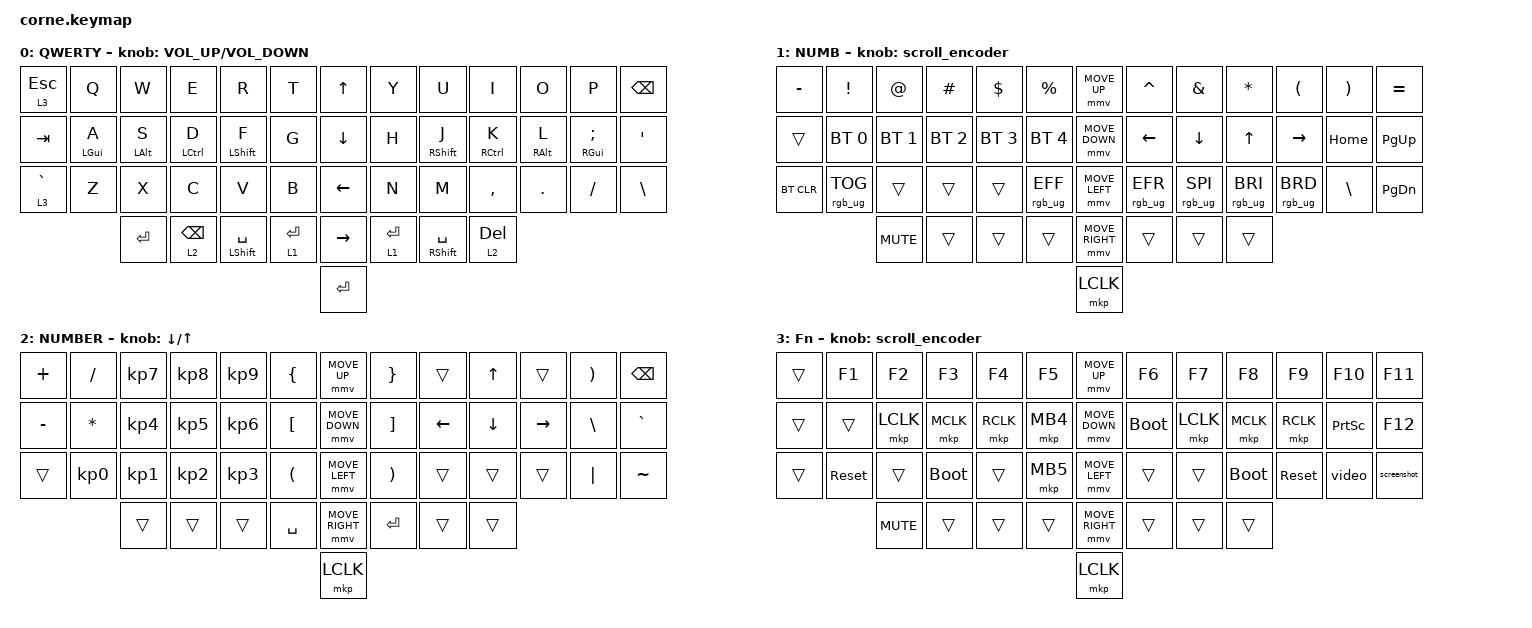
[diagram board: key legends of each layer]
#include <behaviors/mouse_keys.dtsi>
#include <behaviors.dtsi>
#include <dt-bindings/zmk/bt.h>
#include <dt-bindings/zmk/keys.h>
#include <dt-bindings/zmk/mouse.h>
#include <dt-bindings/zmk/rgb.h>

#define ZMK_MOUSE_DEFAULT_MOVE_VAL 1200  // 600
#define ZMK_MOUSE_DEFAULT_SCRL_VAL 20    // 10
#define U_MS_U &mmv MOVE_UP
#define U_MS_D &mmv MOVE_DOWN
#define U_MS_L &mmv MOVE_LEFT
#define U_MS_R &mmv MOVE_RIGHT

&lt { quick-tap-ms = <200>; };

/ {
    behaviors {
        td0: td0 {
            compatible = "zmk,behavior-tap-dance";
            label = "TD0";
            #binding-cells = <0>;
            bindings = <&kp LEFT_SHIFT>, <&kp CAPS>;
        };

        hm: homerow_mods {
            compatible = "zmk,behavior-hold-tap";
            label = "homerow_mods";
            bindings = <&kp>, <&kp>;

            #binding-cells = <2>;
            tapping-term-ms = <200>;
            quick-tap-ms = <200>;
            flavor = "balanced";
        };

        mmv {
            acceleration-exponent = <1>;      // 1
            time-to-max-speed-ms = <900>;    // 40
            delay-ms = <0>;                   // 0
        };

        msc {
            acceleration-exponent = <1>;      // 0
            time-to-max-speed-ms = <400>;      // 500
            delay-ms = <0>;                   // 10
        };
    };

    rgb_encoder: rgb_encoder {
        compatible = "zmk,behavior-sensor-rotate";
        label = "RGB_ENCODER";
        #sensor-binding-cells = <0>;
        bindings = <&rgb_ug RGB_BRI>, <&rgb_ug RGB_BRD>;
    };

    scroll_encoder: scroll_encoder {
        compatible = "zmk,behavior-sensor-rotate";
        #sensor-binding-cells = <0>;
        bindings = <&msc SCRL_DOWN>, <&msc SCRL_UP>;

        tap-ms = <30>;
    };

    combos {
        compatible = "zmk,combos";

        escape {
            bindings = <&kp ESCAPE>;
            key-positions = <1 2>;
        };

        semi {
            bindings = <&kp SEMI>;
            key-positions = <36 37>;
        };

        hyper {
            bindings = <&kp RS(RA(RC(RIGHT_GUI)))>;
            key-positions = <44 45 46>;
        };
    };

    macros {
        screenshot: screenshot {
            compatible = "zmk,behavior-macro";
            #binding-cells = <0>;
            bindings =
                <&macro_press>,
                <&kp LGUI &kp LCTRL &kp LEFT_SHIFT>,
                <&macro_tap>,
                <&kp NUMBER_4>,
                <&macro_release>,
                <&kp LGUI &kp LCTRL &kp LEFT_SHIFT>;

            label = "SCREENSHOT";
        };

        video: video {
            compatible = "zmk,behavior-macro";
            #binding-cells = <0>;
            bindings =
                <&macro_press>,
                <&kp LGUI &kp LEFT_SHIFT>,
                <&macro_tap>,
                <&kp NUMBER_5>,
                <&macro_release>,
                <&kp LGUI &kp LEFT_SHIFT>;

            label = "VIDEO";
        };
    };

    keymap {
        compatible = "zmk,keymap";

        default_layer {
            display-name = "QWERTY";

            // --------------------------------------------------------------------------------
            // |  TAB |  Q  |  W  |  E  |  R  |  T  |                ↑    |  Y  |  U   |  I  |  O  |  P  | BKSP |      &kp UP_ARROW 
            // | SHIFT |  A  |  S  |  D  |  F  |  G  |               ↓    |  H  |  J   |  K  |  L  |  ;  |  '   | 
            // | CTRL |  Z  |  X  |  C  |  V  |  B  |                ←    |  N  |  M   |  ,  |  .  |  /  | ESC  |
            //                    | GUI | LWR | SPC |                →    | ENT | RSE  | ALT |
            //                                                      enter

            bindings = <
&lt 3 ESC    &kp Q           &kp W           &kp E            &kp R            &kp T           &kp UP_ARROW     &kp Y        &kp U            &kp I         &kp O       &kp P          &kp BSPC
&kp TAB      &hm LEFT_GUI A  &hm LEFT_ALT S  &hm LCTRL D      &hm LSHFT F      &kp G           &kp DOWN_ARROW   &kp H        &hm RSHFT J      &hm RCTRL K   &hm RALT L  &hm RGUI SEMI  &kp SQT
&lt 3 GRAVE  &kp Z           &kp X           &kp C            &kp V            &kp B           &kp LEFT_ARROW   &kp N        &kp M            &kp COMMA     &kp DOT     &kp FSLH       &kp BACKSLASH
                             &kp RETURN      &lt 2 BACKSPACE  &mt LSHFT SPACE  &lt 1 RETURN    &kp RIGHT_ARROW  &lt 1 ENTER  &mt RSHFT SPACE  &lt 2 DELETE
                                                                                               &kp ENTER
            >;

            label = "QWERTY";
            sensor-bindings = <&inc_dec_kp C_VOLUME_UP C_VOLUME_DOWN>;
        };

        lower_layer {
            display-name = "NUMB";

            // -----------------------------------------------------------------------------------------
            // |  TAB |  1  |  2  |  3  |  4  |  5  |   |  6  |  7  |  8  |  9  |  0  | BKSP |
            // | BTCLR| BT1 | BT2 | BT3 | BT4 | BT5 |   | LFT | DWN |  UP | RGT |     |      |
            // | SHFT |     |     |     |     |     |   |     |     |     |     |     |      |
            //                    | GUI |     | SPC |   | ENT |     | ALT |

            bindings = <
&kp MINUS   &kp EXCL         &kp AT        &kp HASH      &kp DOLLAR    &kp PERCENT        &mmv MOVE_UP     &kp CARET        &kp AMPERSAND    &kp ASTERISK     &kp LEFT_PARENTHESIS  &kp RIGHT_PARENTHESIS  &kp EQUAL
&trans      &bt BT_SEL 0     &bt BT_SEL 1  &bt BT_SEL 2  &bt BT_SEL 3  &bt BT_SEL 4       &mmv MOVE_DOWN   &kp LEFT         &kp DOWN         &kp UP           &kp RIGHT             &kp HOME               &kp PG_UP
&bt BT_CLR  &rgb_ug RGB_TOG  &trans        &trans        &trans        &rgb_ug RGB_EFF    &mmv MOVE_LEFT   &rgb_ug RGB_EFR  &rgb_ug RGB_SPI  &rgb_ug RGB_BRI  &rgb_ug RGB_BRD       &kp BACKSLASH          &kp PG_DN
                             &kp C_MUTE    &trans        &trans        &trans             &mmv MOVE_RIGHT  &trans           &trans           &trans
                                                                                          &mkp LCLK
            >;

            label = "SYMBOL";
            sensor-bindings = <&scroll_encoder>;
        };

        raise_layer {
            display-name = "NUMBER";

            // -----------------------------------------------------------------------------------------
            // |  TAB |  !  |  @  |  #  |  $  |  %  |   |  ^  |  &  |  *  |  (  |  )  | BKSP |
            // | CTRL |     |     |     |     |     |   |  -  |  =  |  [  |  ]  |  \  |  `   |
            // | SHFT |     |     |     |     |     |   |  _  |  +  |  {  |  }  | "|" |  ~   |
            //                    | GUI |     | SPC |   | ENT |     | ALT |

            bindings = <
&kp PLUS   &kp SLASH     &kp KP_N7  &kp KP_N8  &kp KP_NUMBER_9  &kp LEFT_BRACE      &mmv MOVE_UP     &kp RBRC           &trans          &kp UP_ARROW    &trans           &kp RPAR  &kp BSPC
&kp MINUS  &kp ASTERISK  &kp KP_N4  &kp KP_N5  &kp KP_N6        &kp LEFT_BRACKET    &mmv MOVE_DOWN   &kp RIGHT_BRACKET  &kp LEFT_ARROW  &kp DOWN_ARROW  &kp RIGHT_ARROW  &kp BSLH  &kp GRAVE
&trans     &kp KP_N0     &kp KP_N1  &kp KP_N2  &kp KP_N3        &kp LPAR            &mmv MOVE_LEFT   &kp RPAR           &trans          &trans          &trans           &kp PIPE  &kp TILDE
                         &trans     &trans     &trans           &kp SPACE           &mmv MOVE_RIGHT  &kp RET            &trans          &trans
                                                                                    &mkp LCLK
            >;

            label = "NUMBER";
            sensor-bindings = <&inc_dec_kp DOWN UP_ARROW>;
        };

        layer_3 {
            display-name = "Fn";
            bindings = <
&trans  &kp F1      &kp F2      &kp F3       &kp F4     &kp F5      &mmv MOVE_UP     &kp F6       &kp F7     &kp F8       &kp F9      &kp F10          &kp F11
&trans  &trans      &mkp LCLK   &mkp MCLK    &mkp RCLK  &mkp MB4    &mmv MOVE_DOWN   &bootloader  &mkp LCLK  &mkp MCLK    &mkp RCLK   &kp PRINTSCREEN  &kp F12
&trans  &sys_reset  &trans      &bootloader  &trans     &mkp MB5    &mmv MOVE_LEFT   &trans       &trans     &bootloader  &sys_reset  &video           &screenshot
                    &kp C_MUTE  &trans       &trans     &trans      &mmv MOVE_RIGHT  &trans       &trans     &trans
                                                                    &mkp LCLK
            >;

            label = "FN";
            sensor-bindings = <&scroll_encoder>;
        };
    };
};
